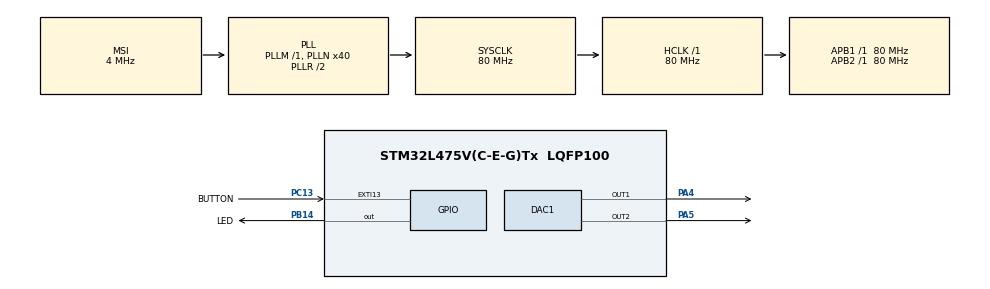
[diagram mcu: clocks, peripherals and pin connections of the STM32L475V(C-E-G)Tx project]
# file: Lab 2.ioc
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Mcu.Family=STM32L4
RCC.MSI_VALUE=4000000
RCC.CortexFreq_Value=80000000
DAC1.DAC_Channel-DAC_OUT2=DAC_CHANNEL_2
SH.COMP_DAC12_group.0=DAC1_OUT2,DAC_OUT2
PC13.Signal=GPXTI13
PB14.GPIO_Label=LED
PC13.GPIO_Label=BUTTON
RCC.SYSCLKSource=RCC_SYSCLKSOURCE_PLLCLK
ProjectManager.StackSize=0x400
PB3\ (JTDO-TRACESWO).Signal=SYS_JTDO-SWO
ProjectManager.TargetToolchain=STM32CubeIDE
SH.COMP_DAC11_group.0=DAC1_OUT1,DAC_OUT1
RCC.HCLKFreq_Value=80000000
RCC.APB2TimFreq_Value=80000000
RCC.USBFreq_Value=48000000
RCC.LSE_VALUE=32768
RCC.AHBFreq_Value=80000000
PB14.Signal=GPIO_Output
PA5.Signal=COMP_DAC12_group
RCC.HSE_VALUE=8000000
board=B-L475E-IOT01A1
RCC.VCOOutputFreq_Value=160000000
RCC.APB2Freq_Value=80000000
RCC.ADCFreq_Value=48000000
Mcu.Name=STM32L475V(C-E-G)Tx
PA4.Signal=COMP_DAC11_group
RCC.SYSCLKFreq_VALUE=80000000
Mcu.Package=LQFP100
ProjectManager.HeapSize=0x200
RCC.HSI_VALUE=16000000
NVIC.PriorityGroup=NVIC_PRIORITYGROUP_4
RCC.PLLN=40
RCC.APB1TimFreq_Value=80000000
PA13\ (JTMS-SWDIO).Signal=SYS_JTMS-SWDIO
RCC.APB1Freq_Value=80000000
RCC.PLLSAI1N=24

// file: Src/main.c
/* USER CODE BEGIN Header */
/**
  ******************************************************************************
  * @file           : main.c
  * @brief          : Main program body
  ******************************************************************************
  * @attention
  *
  * <h2><center>&copy; Copyright (c) 2020 STMicroelectronics.
  * All rights reserved.</center></h2>
  *
  * This software component is licensed by ST under BSD 3-Clause license,
  * the "License"; You may not use this file except in compliance with the
  * License. You may obtain a copy of the License at:
  *                        opensource.org/licenses/BSD-3-Clause
  *
  ******************************************************************************
  */
/* USER CODE END Header */
#include "main.h"

/* USER CODE BEGIN Includes */
#define ARM_MATH_CM4
#include "arm_math.h"

#include <math.h>
/* USER CODE END Includes */

DAC_HandleTypeDef hdac1;

void SystemClock_Config(void);
static void MX_GPIO_Init(void);
static void MX_DAC1_Init(void);

int main(void)
{

  /* MCU Configuration--------------------------------------------------------*/

  /* Reset of all peripherals, Initializes the Flash interface and the Systick. */
  HAL_Init();

  /* Configure the system clock */
  SystemClock_Config();

  /* Initialize all configured peripherals */
  MX_GPIO_Init();
  MX_DAC1_Init();
  /* USER CODE BEGIN 2 */

  HAL_DAC_Start(&hdac1, DAC_CHANNEL_1);
  HAL_DAC_Start(&hdac1, DAC_CHANNEL_2);

  // initialize arrays to hold one period of the wave signal values
  uint32_t triangleWave[16];
  uint32_t sawtoothWave[16];
  uint32_t sineWave[16];

  // initialize variables to allow graphing SWV
  uint32_t triangle;
  uint32_t sawtooth;
  uint32_t sine;

  // used for indexing into the waves
  uint32_t i = 0;

  for (uint32_t j = 0; j < 16; j++) {
	  if (j < 8)
		  triangleWave[j] = j * 512;
	  else if (j == 8)
		  // normally would be 256, but want it to be 8 bit
		  triangleWave[j] = 4095;
	  else
		  triangleWave[j] = 4096 - ((j % 8) * 512);

	  float radians = 3.14 * j / 8.0;
	  sineWave[j] = (uint32_t) roundf(2047.0 * (1.0 + arm_sin_f32(radians)));

	  sawtoothWave[j] = j * 256;
  }
  /* USER CODE END 2 */

  /* Infinite loop */
  while (1)
  {

    /* USER CODE BEGIN 3 */
	// set the DAC values, then update index
	triangle = triangleWave[i];
	sawtooth = sawtoothWave[i];
	sine = sineWave[i];
	HAL_DAC_SetValue(&hdac1, DAC_CHANNEL_1, DAC_ALIGN_12B_R, triangle);
	// HAL_DAC_SetValue(&hdac1, DAC_CHANNEL_1, DAC_ALIGN_12B_R, sine);
	HAL_DAC_SetValue(&hdac1, DAC_CHANNEL_2, DAC_ALIGN_12B_R, sawtooth);
	i = (i + 1) % 16;
	// GPIO_PIN_RESET means the button is currently pressed
	GPIO_PinState buttonState = HAL_GPIO_ReadPin(BUTTON_GPIO_Port, BUTTON_Pin);
	if (buttonState == GPIO_PIN_RESET)
		HAL_GPIO_WritePin(LED_GPIO_Port, LED_Pin, GPIO_PIN_SET);
	else
		HAL_GPIO_WritePin(LED_GPIO_Port, LED_Pin, GPIO_PIN_RESET);

	// delay
	HAL_Delay(1);
  }
  /* USER CODE END 3 */
}

void SystemClock_Config(void)
{
  RCC_OscInitTypeDef RCC_OscInitStruct = {0};
  RCC_ClkInitTypeDef RCC_ClkInitStruct = {0};

  /** Initializes the RCC Oscillators according to the specified parameters
  * in the RCC_OscInitTypeDef structure.
  */
  RCC_OscInitStruct.OscillatorType = RCC_OSCILLATORTYPE_MSI;
  RCC_OscInitStruct.MSIState = RCC_MSI_ON;
  RCC_OscInitStruct.MSICalibrationValue = 0;
  RCC_OscInitStruct.MSIClockRange = RCC_MSIRANGE_6;
  RCC_OscInitStruct.PLL.PLLState = RCC_PLL_ON;
  RCC_OscInitStruct.PLL.PLLSource = RCC_PLLSOURCE_MSI;
  RCC_OscInitStruct.PLL.PLLM = 1;
  RCC_OscInitStruct.PLL.PLLN = 40;
  RCC_OscInitStruct.PLL.PLLP = RCC_PLLP_DIV7;
  RCC_OscInitStruct.PLL.PLLQ = RCC_PLLQ_DIV2;
  RCC_OscInitStruct.PLL.PLLR = RCC_PLLR_DIV2;
  if (HAL_RCC_OscConfig(&RCC_OscInitStruct) != HAL_OK)
  {
    Error_Handler();
  }
  /** Initializes the CPU, AHB and APB buses clocks
  */
  RCC_ClkInitStruct.ClockType = RCC_CLOCKTYPE_HCLK|RCC_CLOCKTYPE_SYSCLK
                              |RCC_CLOCKTYPE_PCLK1|RCC_CLOCKTYPE_PCLK2;
  RCC_ClkInitStruct.SYSCLKSource = RCC_SYSCLKSOURCE_PLLCLK;
  RCC_ClkInitStruct.AHBCLKDivider = RCC_SYSCLK_DIV1;
  RCC_ClkInitStruct.APB1CLKDivider = RCC_HCLK_DIV1;
  RCC_ClkInitStruct.APB2CLKDivider = RCC_HCLK_DIV1;

  if (HAL_RCC_ClockConfig(&RCC_ClkInitStruct, FLASH_LATENCY_4) != HAL_OK)
  {
    Error_Handler();
  }
  /** Configure the main internal regulator output voltage
  */
  if (HAL_PWREx_ControlVoltageScaling(PWR_REGULATOR_VOLTAGE_SCALE1) != HAL_OK)
  {
    Error_Handler();
  }
}

static void MX_DAC1_Init(void)
{

  DAC_ChannelConfTypeDef sConfig = {0};

  /** DAC Initialization
  */
  hdac1.Instance = DAC1;
  if (HAL_DAC_Init(&hdac1) != HAL_OK)
  {
    Error_Handler();
  }
  /** DAC channel OUT1 config
  */
  sConfig.DAC_SampleAndHold = DAC_SAMPLEANDHOLD_DISABLE;
  sConfig.DAC_Trigger = DAC_TRIGGER_NONE;
  sConfig.DAC_OutputBuffer = DAC_OUTPUTBUFFER_ENABLE;
  sConfig.DAC_ConnectOnChipPeripheral = DAC_CHIPCONNECT_DISABLE;
  sConfig.DAC_UserTrimming = DAC_TRIMMING_FACTORY;
  if (HAL_DAC_ConfigChannel(&hdac1, &sConfig, DAC_CHANNEL_1) != HAL_OK)
  {
    Error_Handler();
  }
  /** DAC channel OUT2 config
  */
  sConfig.DAC_ConnectOnChipPeripheral = DAC_CHIPCONNECT_DISABLE;
  if (HAL_DAC_ConfigChannel(&hdac1, &sConfig, DAC_CHANNEL_2) != HAL_OK)
  {
    Error_Handler();
  }

}

static void MX_GPIO_Init(void)
{
  GPIO_InitTypeDef GPIO_InitStruct = {0};

  /* GPIO Ports Clock Enable */
  __HAL_RCC_GPIOC_CLK_ENABLE();
  __HAL_RCC_GPIOA_CLK_ENABLE();
  __HAL_RCC_GPIOB_CLK_ENABLE();

  /*Configure GPIO pin Output Level */
  HAL_GPIO_WritePin(LED_GPIO_Port, LED_Pin, GPIO_PIN_RESET);

  /*Configure GPIO pin : BUTTON_Pin */
  GPIO_InitStruct.Pin = BUTTON_Pin;
  GPIO_InitStruct.Mode = GPIO_MODE_IT_RISING;
  GPIO_InitStruct.Pull = GPIO_NOPULL;
  HAL_GPIO_Init(BUTTON_GPIO_Port, &GPIO_InitStruct);

  /*Configure GPIO pin : LED_Pin */
  GPIO_InitStruct.Pin = LED_Pin;
  GPIO_InitStruct.Mode = GPIO_MODE_OUTPUT_PP;
  GPIO_InitStruct.Pull = GPIO_NOPULL;
  GPIO_InitStruct.Speed = GPIO_SPEED_FREQ_LOW;
  HAL_GPIO_Init(LED_GPIO_Port, &GPIO_InitStruct);

}

void Error_Handler(void)
{
}

/************************ (C) COPYRIGHT STMicroelectronics *****END OF FILE****/
